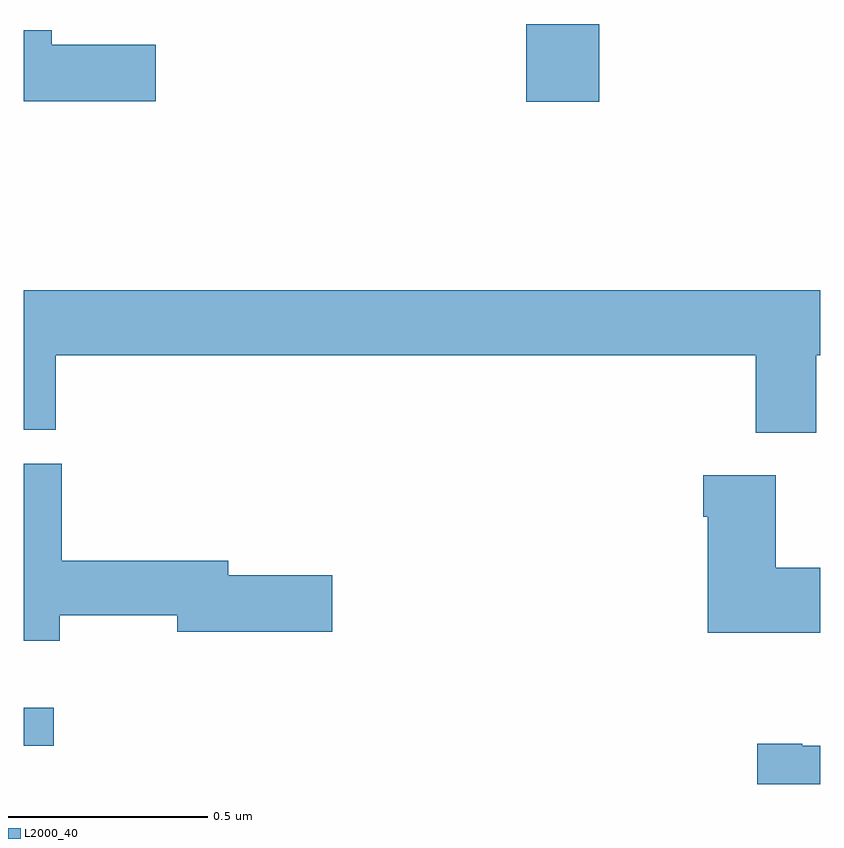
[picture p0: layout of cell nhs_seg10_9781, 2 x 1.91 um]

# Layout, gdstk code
import gdstk
lib = gdstk.Library(unit=1e-6, precision=1e-09)
def R(c, l, rs):  # rectangles x0, y0, x1, y1
    for r in rs: c.add(gdstk.rectangle(r[:2], r[2:], *l))
def P(c, l, *ps):  # polygons
    for p in ps: c.add(gdstk.Polygon(p, *l))
L2000_40 = (2000, 40)

nhs_seg10_9781 = lib.new_cell('nhs_seg10_9781')
R(nhs_seg10_9781, L2000_40, [(234,1280.688,234.076,1280.784), (235.262,1282.305,235.445,1282.5)])
P(nhs_seg10_9781, L2000_40, [(234.331,1282.448),(234.07,1282.448),(234.07,1282.484),(234,1282.484),(234,1282.306),(234.331,1282.306)],
  [(235.99,1281.668),(236,1281.668),(236,1281.832),(234,1281.832),(234,1281.481),(234.08,1281.481),(234.08,1281.668),(235.838,1281.668),(235.838,1281.474),(235.99,1281.474)],
  [(234.09,1281.016),(234.386,1281.016),(234.386,1280.974),(234.775,1280.974),(234.775,1281.116),(234.514,1281.116),(234.514,1281.152),(234.095,1281.152),(234.095,1281.396),(234,1281.396),(234,1280.952),(234.09,1280.952)],
  [(236,1281.135),(235.888,1281.135),(235.888,1281.367),(235.706,1281.367),(235.706,1281.263),(235.718,1281.263),(235.718,1280.972),(236,1280.972)],
  [(236,1280.688),(235.954,1280.688),(235.954,1280.693),(235.842,1280.693),(235.842,1280.592),(236,1280.592)])

lib.write_gds('nhs_seg10_9781.gds')
